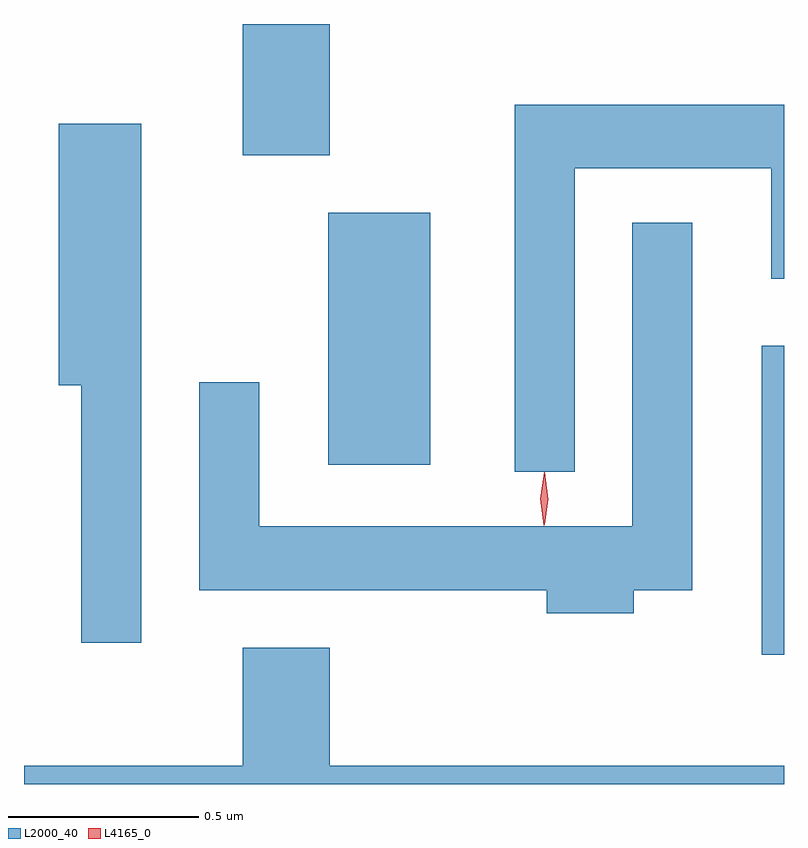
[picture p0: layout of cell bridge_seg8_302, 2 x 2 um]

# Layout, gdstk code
import gdstk
lib = gdstk.Library(unit=1e-6, precision=1e-09)
def R(c, l, rs):  # rectangles x0, y0, x1, y1
    for r in rs: c.add(gdstk.rectangle(r[:2], r[2:], *l))
def P(c, l, *ps):  # polygons
    for p in ps: c.add(gdstk.Polygon(p, *l))
L2000_40 = (2000, 40)
L4165_0 = (4165, 0)

bridge_seg8_302 = lib.new_cell('bridge_seg8_302')
R(bridge_seg8_302, L2000_40, [(1406.696,1814.776,1406.755,1815.589), (1405.556,1815.276,1405.824,1815.939), (1405.331,1816.091,1405.559,1816.436)])
P(bridge_seg8_302, L2000_40, [(1406.204,1816.056),(1406.721,1816.056),(1406.721,1815.766),(1406.755,1815.766),(1406.755,1816.224),(1406.046,1816.224),(1406.046,1815.258),(1406.204,1815.258)],
  [(1405.064,1816.174),(1404.846,1816.174),(1404.846,1815.486),(1404.906,1815.486),(1404.906,1814.808),(1405.064,1814.808)],
  [(1406.359,1814.946),(1406.514,1814.946),(1406.514,1815.913),(1406.356,1815.913),(1406.356,1815.114),(1405.374,1815.114),(1405.374,1815.493),(1405.216,1815.493),(1405.216,1814.946),(1406.131,1814.946),(1406.131,1814.886),(1406.359,1814.886)],
  [(1406.755,1814.484),(1405.559,1814.484),(1405.559,1814.794),(1405.331,1814.794),(1405.331,1814.484),(1404.755,1814.484),(1404.755,1814.436),(1406.755,1814.436)])
P(bridge_seg8_302, L4165_0, [(1406.123,1815.117),(1406.114,1815.187),(1406.124,1815.256),(1406.124,1815.256),(1406.125,1815.256),(1406.134,1815.186),(1406.124,1815.117),(1406.124,1815.117)],
  [(1406.125,1815.119),(1406.124,1815.12),(1406.115,1815.186),(1406.124,1815.252),(1406.125,1815.253),(1406.125,1815.252),(1406.135,1815.186),(1406.125,1815.12)])

lib.write_gds('bridge_seg8_302.gds')
